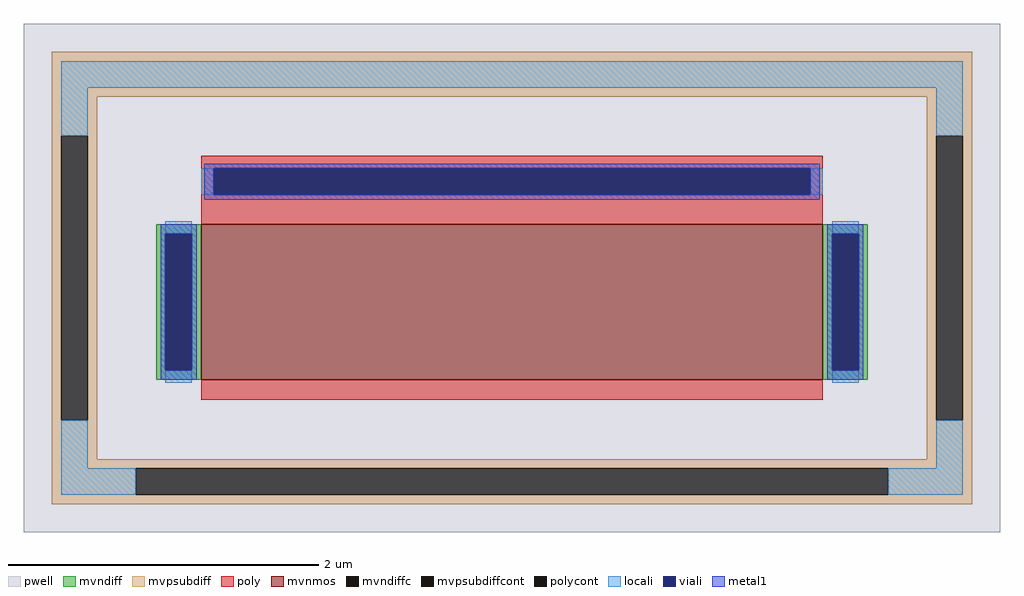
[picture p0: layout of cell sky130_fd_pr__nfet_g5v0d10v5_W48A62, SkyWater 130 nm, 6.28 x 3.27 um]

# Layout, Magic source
magic
tech sky130A
magscale 1 2
<< pwell >>
rect -628 -327 628 327
<< mvnmos >>
rect -400 -131 400 69
<< mvndiff >>
rect -458 57 -400 69
rect -458 -119 -446 57
rect -412 -119 -400 57
rect -458 -131 -400 -119
rect 400 57 458 69
rect 400 -119 412 57
rect 446 -119 458 57
rect 400 -131 458 -119
<< mvndiffc >>
rect -446 -119 -412 57
rect 412 -119 446 57
<< mvpsubdiff >>
rect -592 233 592 291
rect -592 183 -534 233
rect -592 -183 -580 183
rect -546 -183 -534 183
rect 534 183 592 233
rect -592 -233 -534 -183
rect 534 -183 546 183
rect 580 -183 592 183
rect 534 -233 592 -183
rect -592 -245 592 -233
rect -592 -279 -484 -245
rect 484 -279 592 -245
rect -592 -291 592 -279
<< mvpsubdiffcont >>
rect -580 -183 -546 183
rect 546 -183 580 183
rect -484 -279 484 -245
<< poly >>
rect -400 141 400 157
rect -400 107 -384 141
rect 384 107 400 141
rect -400 69 400 107
rect -400 -157 400 -131
<< polycont >>
rect -384 107 384 141
<< locali >>
rect -580 245 580 279
rect -580 183 -546 245
rect 546 183 580 245
rect -400 107 -384 141
rect 384 107 400 141
rect -446 57 -412 73
rect -446 -135 -412 -119
rect 412 57 446 73
rect 412 -135 446 -119
rect -580 -245 -546 -183
rect 546 -245 580 -183
rect -580 -279 -484 -245
rect 484 -279 580 -245
<< viali >>
rect -384 107 384 141
rect -446 -119 -412 57
rect 412 -119 446 57
<< metal1 >>
rect -396 141 396 147
rect -396 107 -384 141
rect 384 107 396 141
rect -396 101 396 107
rect -452 57 -406 69
rect -452 -119 -446 57
rect -412 -119 -406 57
rect -452 -131 -406 -119
rect 406 57 452 69
rect 406 -119 412 57
rect 446 -119 452 57
rect 406 -131 452 -119
<< properties >>
string FIXED_BBOX -563 -262 563 262
string gencell sky130_fd_pr__nfet_g5v0d10v5
string library sky130
string parameters w 1.0 l 4.0 m 1 nf 1 diffcov 100 polycov 100 guard 1 glc 1 grc 1 gtc 0 gbc 1 tbcov 100 rlcov 100 topc 1 botc 0 poverlap 0 doverlap 1 lmin 0.50 wmin 0.42 compatible {sky130_fd_pr__nfet_01v8 sky130_fd_pr__nfet_01v8_lvt  sky130_fd_bs_flash__special_sonosfet_star  sky130_fd_pr__nfet_g5v0d10v5 sky130_fd_pr__nfet_05v0_nvt  sky130_fd_pr__nfet_03v3_nvt} full_metal 1 viasrc 100 viadrn 100 viagate 100 viagb 0 viagr 0 viagl 0 viagt 0
<< end >>
